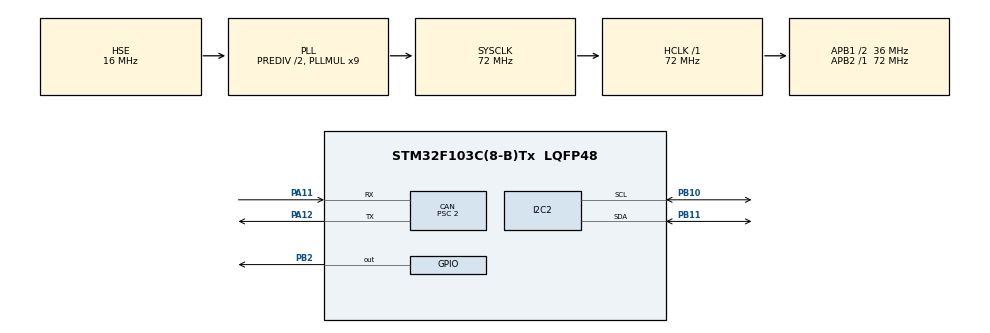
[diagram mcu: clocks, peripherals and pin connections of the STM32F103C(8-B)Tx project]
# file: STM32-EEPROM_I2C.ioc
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CAN.BS1=CAN_BS1_15TQ
CAN.BS2=CAN_BS2_2TQ
CAN.CalculateBaudRate=1000000
CAN.CalculateTimeBit=1000
CAN.CalculateTimeQuantum=55.55555555555556
CAN.NART=ENABLE
CAN.Prescaler=2
CAN.SJW=CAN_SJW_1TQ
Mcu.Family=STM32F1
Mcu.Name=STM32F103C(8-B)Tx
Mcu.Package=LQFP48
NVIC.PriorityGroup=NVIC_PRIORITYGROUP_4
NVIC.USB_LP_CAN1_RX0_IRQn=true\:0\:0\:false\:false\:true\:true\:true\:true
PA11.Mode=CAN_Activate
PA11.Signal=CAN_RX
PA12.Mode=CAN_Activate
PA12.Signal=CAN_TX
PA13.Mode=Serial_Wire
PA13.Signal=SYS_JTMS-SWDIO
PA14.Mode=Serial_Wire
PA14.Signal=SYS_JTCK-SWCLK
PB10.Mode=I2C
PB10.Signal=I2C2_SCL
PB11.Mode=I2C
PB11.Signal=I2C2_SDA
PB2.Signal=GPIO_Output
PD0-OSC_IN.Mode=HSE-External-Oscillator
PD0-OSC_IN.Signal=RCC_OSC_IN
PD1-OSC_OUT.Mode=HSE-External-Oscillator
PD1-OSC_OUT.Signal=RCC_OSC_OUT
ProjectManager.HeapSize=0x200
ProjectManager.StackSize=0x400
ProjectManager.TargetToolchain=STM32CubeIDE
RCC.AHBFreq_Value=72000000
RCC.APB1CLKDivider=RCC_HCLK_DIV2
RCC.APB1Freq_Value=36000000
RCC.APB1TimFreq_Value=72000000
RCC.APB2Freq_Value=72000000
RCC.APB2TimFreq_Value=72000000
RCC.HCLKFreq_Value=72000000
RCC.HSEDivPLL=RCC_HSE_PREDIV_DIV2
RCC.HSE_VALUE=16000000
RCC.PLLMUL=RCC_PLL_MUL9
RCC.PLLSourceVirtual=RCC_PLLSOURCE_HSE
RCC.SYSCLKFreq_VALUE=72000000
RCC.SYSCLKSource=RCC_SYSCLKSOURCE_PLLCLK
RCC.USBFreq_Value=72000000
board=custom

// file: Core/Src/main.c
/* USER CODE BEGIN Header */
/**
 ******************************************************************************
 * @file           : main.c
 * @brief          : Main program body
 ******************************************************************************
 * @attention
 *
 * Copyright (c) 2024 STMicroelectronics.
 * All rights reserved.
 *
 * This software is licensed under terms that can be found in the LICENSE file
 * in the root directory of this software component.
 * If no LICENSE file comes with this software, it is provided AS-IS.
 *
 ******************************************************************************
 */
/* USER CODE END Header */
#include "main.h"

CAN_HandleTypeDef hcan;

I2C_HandleTypeDef hi2c2;

/* USER CODE BEGIN PV */
// CAN Tx
CAN_TxHeaderTypeDef TxHeader;
uint8_t TxData[8];
uint32_t TxMailbox;

// CAN Rx
CAN_FilterTypeDef canfilterconfig;
CAN_RxHeaderTypeDef RxHeader;
uint8_t RxData[8];

/* USER CODE END PV */

void SystemClock_Config(void);
static void MX_GPIO_Init(void);
static void MX_CAN_Init(void);
static void MX_I2C2_Init(void);

/* USER CODE BEGIN 0 */

void setupTxCAN()
{
  TxHeader.StdId = 0x321;
  TxHeader.ExtId = 0x01;
  TxHeader.RTR = CAN_RTR_DATA;
  TxHeader.IDE = CAN_ID_EXT;
  TxHeader.DLC = 8;
  TxHeader.TransmitGlobalTime = DISABLE;

  TxData[0] = 0xA0;
  TxData[1] = 0xA1;
  TxData[2] = 0xA2;
  TxData[3] = 0xA3;
  TxData[4] = 0xA4;
  TxData[5] = 0xA5;
  TxData[6] = 0xA6;
  TxData[7] = 0xA7;
}

void setupRxCAN()
{
  canfilterconfig.FilterBank = 0;
  canfilterconfig.FilterMode = CAN_FILTERMODE_IDMASK;
  canfilterconfig.FilterScale = CAN_FILTERSCALE_32BIT;
  canfilterconfig.FilterIdHigh = 0x0000;
  canfilterconfig.FilterIdLow = 0x0000;
  canfilterconfig.FilterMaskIdHigh = 0x0000;
  canfilterconfig.FilterMaskIdLow = 0x0000;
  canfilterconfig.FilterFIFOAssignment = CAN_RX_FIFO0;
  canfilterconfig.FilterActivation = ENABLE;
  canfilterconfig.SlaveStartFilterBank = 14;

  HAL_CAN_ConfigFilter(&hcan, &canfilterconfig);
  HAL_CAN_ActivateNotification(&hcan, CAN_IT_RX_FIFO0_MSG_PENDING); // enable interrupts
}

void txCAN()
{
  TxHeader.DLC = 8;
  HAL_StatusTypeDef can_result = HAL_CAN_AddTxMessage(&hcan, &TxHeader,
                                                      TxData, &TxMailbox);
  if (can_result != HAL_OK)
  {
    Error_Handler();
  }
}

/**
 * @brief  Rx Fifo 0 message pending callback in non blocking mode
 * @param  CanHandle: pointer to a CAN_HandleTypeDef structure that contains
 *         the configuration information for the specified CAN.
 * @retval None
 */
void HAL_CAN_RxFifo0MsgPendingCallback(CAN_HandleTypeDef *CanHandle)
{
  uint8_t echo_data[8];
  /* Get RX message */
  if (HAL_CAN_GetRxMessage(CanHandle, CAN_RX_FIFO0, &RxHeader, RxData) != HAL_OK)
  {
    /* Reception Error */
    Error_Handler();
  }

  HAL_GPIO_TogglePin(GPIOB, GPIO_PIN_2);
  // Echo received CAN message
  HAL_CAN_AddTxMessage(&hcan, &TxHeader, echo_data, &TxMailbox);
}

/* USER CODE END 0 */

int main(void)
{

  /* MCU Configuration--------------------------------------------------------*/

  /* Reset of all peripherals, Initializes the Flash interface and the Systick. */
  HAL_Init();

  /* Configure the system clock */
  SystemClock_Config();

  /* Initialize all configured peripherals */
  MX_GPIO_Init();
  MX_CAN_Init();
  MX_I2C2_Init();
  /* USER CODE BEGIN 2 */
  setupTxCAN();
  setupRxCAN();

  /* USER CODE END 2 */

  /* Infinite loop */
  /* USER CODE BEGIN WHILE */

  while (1)
  {
    //txCAN();
    HAL_GPIO_TogglePin(GPIOB, GPIO_PIN_2);

    // set channel
    uint8_t device_identifier = 0b11100000;
    uint8_t a2_pin = 0;
    uint8_t a1_pin = 0;
    uint8_t a0_pin = 0;
    uint8_t read_write = 0; // write

    uint8_t i2c_address = device_identifier | (a2_pin << 3) | (a1_pin << 2) | (a0_pin << 1) | read_write;

    uint8_t channel = 1;

    uint8_t i2c_send_data_mux = 0b00000000 | (channel | 4);

    while (HAL_I2C_Master_Transmit(&hi2c2, (uint16_t)i2c_address, &i2c_send_data_mux, 1, 10000) != HAL_OK)
    {
      if (HAL_I2C_GetError(&hi2c2) != HAL_I2C_ERROR_AF)
      {
        Error_Handler();
      }
    }

    //shift i/o mux
    //configure input/output
    device_identifier = 0b00110000;
    a2_pin = 0;
    a1_pin = 0;
    a0_pin = 0;
    read_write = 0; // write

    i2c_address = device_identifier | (a2_pin << 3) | (a1_pin << 2) | (a0_pin << 1) | read_write;

    uint8_t i2c_send_data_io[2];
    i2c_send_data_io[0] = (uint8_t )0b00000011; //configuration register
    i2c_send_data_io[1] = (uint8_t) 0b00011111; // 7-5 output, 1-4 input, 0 NC

    while (HAL_I2C_Master_Transmit(&hi2c2, (uint16_t)i2c_address, &i2c_send_data_io[0], 2, 10000) != HAL_OK)
    {
      if (HAL_I2C_GetError(&hi2c2) != HAL_I2C_ERROR_AF)
      {
        Error_Handler();
      }
    }

    //configure input polarity

    i2c_send_data_io[0] = (uint8_t) 0b00000010; //output port register
    i2c_send_data_io[1] = (uint8_t) 0b00000000; // none are inverted

    while (HAL_I2C_Master_Transmit(&hi2c2, (uint16_t)i2c_address, &i2c_send_data_io[0], 2, 10000) != HAL_OK)
    {
      if (HAL_I2C_GetError(&hi2c2) != HAL_I2C_ERROR_AF)
      {
        Error_Handler();
      }
    }

    //configure output channels
    i2c_send_data_io[0] = (uint8_t) 0b00000001; //output port register
    i2c_send_data_io[1] = (uint8_t) 0b11100000; // 7-5 on

    while (HAL_I2C_Master_Transmit(&hi2c2, (uint16_t)i2c_address, &i2c_send_data_io[0], 2, 10000) != HAL_OK)
    {
      if (HAL_I2C_GetError(&hi2c2) != HAL_I2C_ERROR_AF)
      {
        Error_Handler();
      }
    }

    //configure register for reading
    i2c_send_data_io[0] = (uint8_t) 0b00000000; //input port register
    //i2c_send_data_io[1] = (uint8_t) 0b11100000; // Doesn't respond to second byte - only takes one

    while (HAL_I2C_Master_Transmit(&hi2c2, (uint16_t)i2c_address, &i2c_send_data_io[0], 1, 10000) != HAL_OK)
    {
      if (HAL_I2C_GetError(&hi2c2) != HAL_I2C_ERROR_AF)
      {
        Error_Handler();
      }
    }
    //NO DELAY BETWEEN THESE COMMANDS

	//read io mux
	device_identifier = 0b00110000;
	a2_pin = 0;
	a1_pin = 0;
	a0_pin = 0;
	read_write = 1; // read

	i2c_address = device_identifier | (a2_pin << 3) | (a1_pin << 2) | (a0_pin << 1) | read_write;

	uint8_t i2c_read_data_io[1];

	while (HAL_I2C_Master_Receive(&hi2c2, (uint16_t)(i2c_address), i2c_read_data_io, 1, 10000) != HAL_OK)
	{
	  if (HAL_I2C_GetError(&hi2c2) != HAL_I2C_ERROR_AF)
	  {
		Error_Handler();
	  }
	}

     write eeprom
    uint8_t read_eeprom = 0; // address in eeprom to write to
    uint16_t eeprom_address = 321;

    device_identifier = 0b10100000;
    a2_pin = 0;
    a1_pin = 0;

    i2c_address = device_identifier | (a2_pin << 3) | (a1_pin << 2) | (eeprom_address >> 8) << 1 | read_eeprom;

    uint8_t i2c_send_data[2];
    i2c_send_data[0] = (uint8_t)eeprom_address & 0xff;
    i2c_send_data[1] = (uint8_t)channel;

    while (HAL_I2C_Master_Transmit(&hi2c2, (uint16_t)i2c_address,
                                   i2c_send_data, sizeof(i2c_send_data), 10000) != HAL_OK)
    {
      /* Error_Handler() function is called when Timeout error occurs.
       When Acknowledge failure occurs (Slave don't acknowledge its address)
       Master restarts communication */
      if (HAL_I2C_GetError(&hi2c2) != HAL_I2C_ERROR_AF)
      {
        Error_Handler();
      }
    }

    HAL_Delay(25);

    eeprom_address = 321; // address in eeprom to read from
    i2c_address = device_identifier | (a2_pin << 3) | (a1_pin << 2) | (eeprom_address >> 8) << 1 | read_eeprom;
    uint8_t i2c_address_write = (uint8_t)(i2c_address & 0xfe);

    uint8_t i2c_data_buff;
    while (HAL_I2C_Mem_Read(&hi2c2, (uint16_t)i2c_address_write,
                            (uint16_t)eeprom_address, I2C_MEMADD_SIZE_8BIT, &i2c_data_buff,
                            1, 10000) != HAL_OK)
    {
      /* Error_Handler() function is called when Timeout error occurs.
       When Acknowledge failure occurs (Slave don't acknowledge its address)
       Master restarts communication */
      if (HAL_I2C_GetError(&hi2c2) != HAL_I2C_ERROR_AF)
      {
        Error_Handler();
      }
    }

    uint8_t can_data[1];
    can_data[0] = i2c_data_buff;
    TxHeader.DLC = 1;
    HAL_CAN_AddTxMessage(&hcan, &TxHeader, can_data, &TxMailbox);

    can_data[0] = i2c_read_data_io;
    TxHeader.DLC = 1;
    HAL_CAN_AddTxMessage(&hcan, &TxHeader, can_data, &TxMailbox);
    HAL_Delay(500);
    /* USER CODE END WHILE */

  }
}

void SystemClock_Config(void)
{
  RCC_OscInitTypeDef RCC_OscInitStruct = {0};
  RCC_ClkInitTypeDef RCC_ClkInitStruct = {0};

  /** Initializes the RCC Oscillators according to the specified parameters
  * in the RCC_OscInitTypeDef structure.
  */
  RCC_OscInitStruct.OscillatorType = RCC_OSCILLATORTYPE_HSE;
  RCC_OscInitStruct.HSEState = RCC_HSE_ON;
  RCC_OscInitStruct.HSEPredivValue = RCC_HSE_PREDIV_DIV2;
  RCC_OscInitStruct.HSIState = RCC_HSI_ON;
  RCC_OscInitStruct.PLL.PLLState = RCC_PLL_ON;
  RCC_OscInitStruct.PLL.PLLSource = RCC_PLLSOURCE_HSE;
  RCC_OscInitStruct.PLL.PLLMUL = RCC_PLL_MUL9;
  if (HAL_RCC_OscConfig(&RCC_OscInitStruct) != HAL_OK)
  {
    Error_Handler();
  }

  /** Initializes the CPU, AHB and APB buses clocks
  */
  RCC_ClkInitStruct.ClockType = RCC_CLOCKTYPE_HCLK|RCC_CLOCKTYPE_SYSCLK
                              |RCC_CLOCKTYPE_PCLK1|RCC_CLOCKTYPE_PCLK2;
  RCC_ClkInitStruct.SYSCLKSource = RCC_SYSCLKSOURCE_PLLCLK;
  RCC_ClkInitStruct.AHBCLKDivider = RCC_SYSCLK_DIV1;
  RCC_ClkInitStruct.APB1CLKDivider = RCC_HCLK_DIV2;
  RCC_ClkInitStruct.APB2CLKDivider = RCC_HCLK_DIV1;

  if (HAL_RCC_ClockConfig(&RCC_ClkInitStruct, FLASH_LATENCY_2) != HAL_OK)
  {
    Error_Handler();
  }
}

static void MX_CAN_Init(void)
{

  hcan.Instance = CAN1;
  hcan.Init.Prescaler = 2;
  hcan.Init.Mode = CAN_MODE_NORMAL;
  hcan.Init.SyncJumpWidth = CAN_SJW_1TQ;
  hcan.Init.TimeSeg1 = CAN_BS1_15TQ;
  hcan.Init.TimeSeg2 = CAN_BS2_2TQ;
  hcan.Init.TimeTriggeredMode = DISABLE;
  hcan.Init.AutoBusOff = DISABLE;
  hcan.Init.AutoWakeUp = DISABLE;
  hcan.Init.AutoRetransmission = ENABLE;
  hcan.Init.ReceiveFifoLocked = DISABLE;
  hcan.Init.TransmitFifoPriority = DISABLE;
  if (HAL_CAN_Init(&hcan) != HAL_OK)
  {
    Error_Handler();
  }
  /* USER CODE BEGIN CAN_Init 2 */

  if (HAL_CAN_Start(&hcan) != HAL_OK)
  {
    /* Start Error */
    Error_Handler();
  }

  /* USER CODE END CAN_Init 2 */

}

static void MX_I2C2_Init(void)
{

  hi2c2.Instance = I2C2;
  hi2c2.Init.ClockSpeed = 100000;
  hi2c2.Init.DutyCycle = I2C_DUTYCYCLE_2;
  hi2c2.Init.OwnAddress1 = 0;
  hi2c2.Init.AddressingMode = I2C_ADDRESSINGMODE_7BIT;
  hi2c2.Init.DualAddressMode = I2C_DUALADDRESS_DISABLE;
  hi2c2.Init.OwnAddress2 = 0;
  hi2c2.Init.GeneralCallMode = I2C_GENERALCALL_DISABLE;
  hi2c2.Init.NoStretchMode = I2C_NOSTRETCH_DISABLE;
  if (HAL_I2C_Init(&hi2c2) != HAL_OK)
  {
    Error_Handler();
  }

}

static void MX_GPIO_Init(void)
{
  GPIO_InitTypeDef GPIO_InitStruct = {0};
/* USER CODE BEGIN MX_GPIO_Init_1 */
  __HAL_AFIO_REMAP_SWJ_NOJTAG();
/* USER CODE END MX_GPIO_Init_1 */

  /* GPIO Ports Clock Enable */
  __HAL_RCC_GPIOD_CLK_ENABLE();
  __HAL_RCC_GPIOB_CLK_ENABLE();
  __HAL_RCC_GPIOA_CLK_ENABLE();

  /*Configure GPIO pin Output Level */
  HAL_GPIO_WritePin(GPIOB, GPIO_PIN_2, GPIO_PIN_RESET);

  /*Configure GPIO pin : PB2 */
  GPIO_InitStruct.Pin = GPIO_PIN_2;
  GPIO_InitStruct.Mode = GPIO_MODE_OUTPUT_PP;
  GPIO_InitStruct.Pull = GPIO_NOPULL;
  GPIO_InitStruct.Speed = GPIO_SPEED_FREQ_LOW;
  HAL_GPIO_Init(GPIOB, &GPIO_InitStruct);

}

void Error_Handler(void)
{
  /* USER CODE BEGIN Error_Handler_Debug */
  /* User can add his own implementation to report the HAL error return state */
  __disable_irq();
  while (1)
  {

	 //HAL_GPIO_TogglePin(GPIOB, GPIO_PIN_2);
	  uint32_t HAL_ERR = HAL_I2C_GetError(&hi2c2);

  }
  /* USER CODE END Error_Handler_Debug */
}
